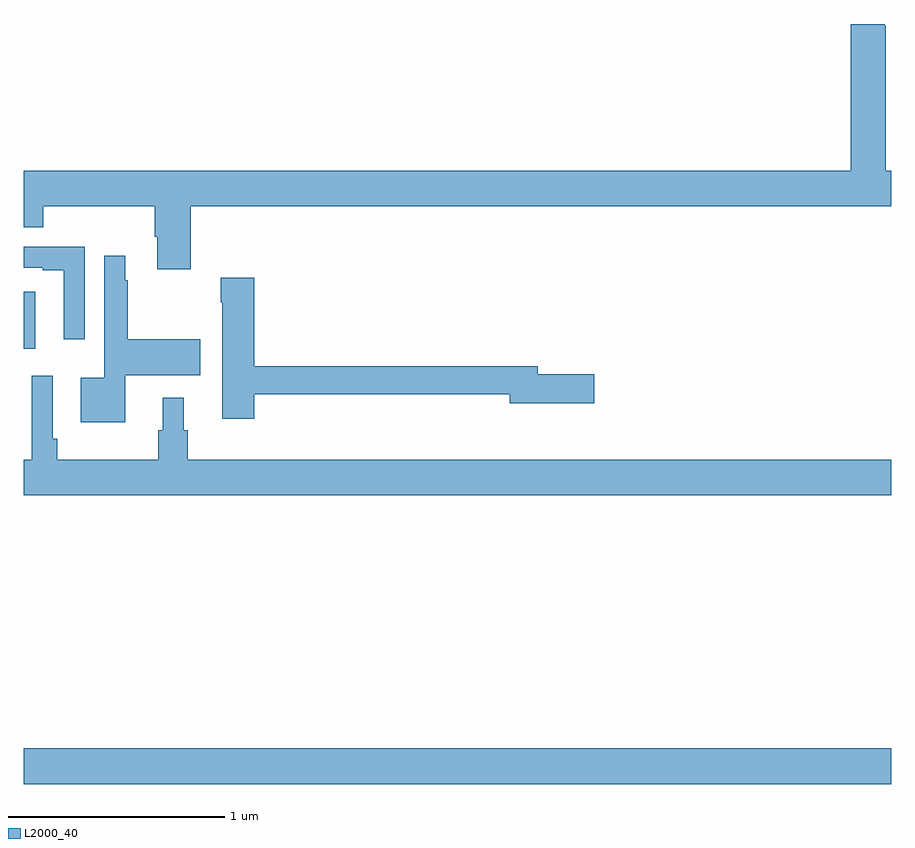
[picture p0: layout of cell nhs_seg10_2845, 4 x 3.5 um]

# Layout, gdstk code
import gdstk
lib = gdstk.Library(unit=1e-6, precision=1e-09)
def R(c, l, rs):  # rectangles x0, y0, x1, y1
    for r in rs: c.add(gdstk.rectangle(r[:2], r[2:], *l))
def P(c, l, *ps):  # polygons
    for p in ps: c.add(gdstk.Polygon(p, *l))
L2000_40 = (2000, 40)

nhs_seg10_2845 = lib.new_cell('nhs_seg10_2845')
R(nhs_seg10_2845, L2000_40, [(265,1286.996,269,1287.16), (265,1289.003,265.054,1289.266)])
P(nhs_seg10_2845, L2000_40, [(265.769,1289.66),(269,1289.66),(269,1289.824),(268.974,1289.824),(268.974,1290.491),(268.969,1290.491),(268.969,1290.5),(268.814,1290.5),(268.814,1289.824),(265,1289.824),(265,1289.562),(265.091,1289.562),(265.091,1289.66),(265.604,1289.66),(265.604,1289.518),(265.616,1289.518),(265.616,1289.37),(265.769,1289.37)],
  [(265.281,1289.472),(265,1289.472),(265,1289.376),(265.088,1289.376),(265.088,1289.364),(265.184,1289.364),(265.184,1289.046),(265.281,1289.046)],
  [(265.468,1288.88),(265.813,1288.88),(265.813,1289.046),(265.48,1289.046),(265.48,1289.318),(265.468,1289.318),(265.468,1289.431),(265.371,1289.431),(265.371,1288.87),(265.262,1288.87),(265.262,1288.664),(265.468,1288.664)],
  [(266.063,1288.794),(267.242,1288.794),(267.242,1288.751),(267.631,1288.751),(267.631,1288.886),(267.37,1288.886),(267.37,1288.922),(266.063,1288.922),(266.063,1289.329),(265.909,1289.329),(265.909,1289.216),(265.916,1289.216),(265.916,1288.68),(266.063,1288.68)],
  [(269,1288.492),(265.757,1288.492),(265.757,1288.626),(265.738,1288.626),(265.738,1288.777),(265.64,1288.777),(265.64,1288.626),(265.621,1288.626),(265.621,1288.492),(265.154,1288.492),(265.154,1288.588),(265.134,1288.588),(265.134,1288.879),(265.037,1288.879),(265.037,1288.492),(265,1288.492),(265,1288.328),(269,1288.328)])

lib.write_gds('nhs_seg10_2845.gds')
